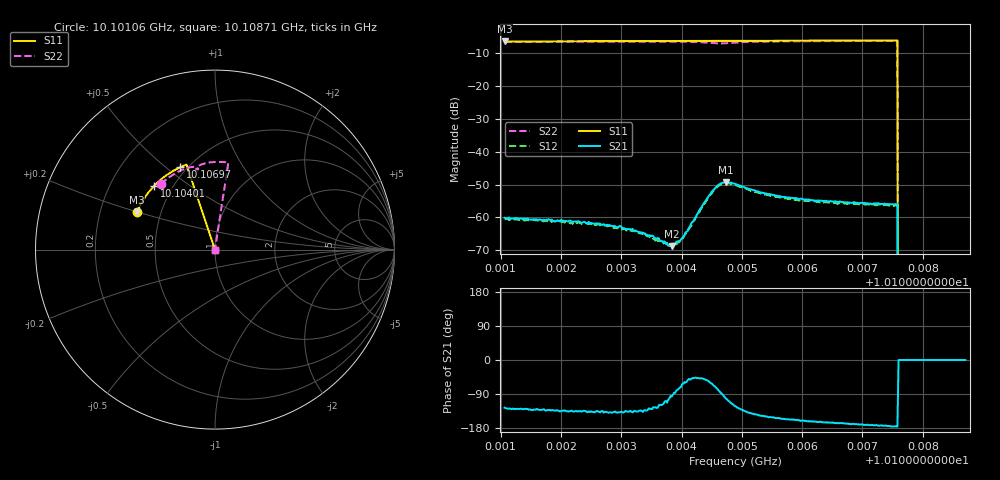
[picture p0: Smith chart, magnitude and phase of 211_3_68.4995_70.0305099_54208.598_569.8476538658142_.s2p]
#  HZ  S  RI  R  50.00
! Rohde & Schwarz Vector Network Analyzer
! Rohde-Schwarz,ZNB20-2Port,1311601062101988,3.16
! Created: UTC 3/20/2024, 4:58:02 PM
! freq[Hz]  re:S11  im:S11  re:S21  im:S21  re:S12  im:S12  re:S22  im:S22
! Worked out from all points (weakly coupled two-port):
!   401 points, 10.10106 GHz to 10.10871 GHz, reference 50 ohm
!   highest |S21| = -49.23 dB at 10.10473 GHz (marker M1); lowest = -68.8 dB at 10.10384 GHz (marker M2)
!   lowest |S11| = -6.3 dB at 10.10106 GHz (marker M3), VSWR 2.86, Z = 18.2 + j9.85 ohm
!   |S11| at or under -10 dB: 10.10758 GHz to end of sweep
!   |S22| runs from - to -6.2 dB; largest |S21 - S12| = 0.00038
!   S11 on the Smith chart (normalised r, x): 10.10106 GHz: 0.36, +0.20; 10.10401 GHz: 0.40, +0.37; 10.10697 GHz: 0.46, +0.56; 10.10871 GHz: 1.00, +0.00
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1.0101065e10  -0.4353 0.2071  -0.000577 -0.000798  -0.000508 -0.00078  -0.3025 0.3659
1.0102345e10  -0.3999 0.2766  -0.000592 -0.000569  -0.000528 -0.000594  -0.2362 0.416
1.0102823e10  -0.3839 0.3008  -0.000548 -0.000498  -0.000483 -0.000538  -0.2087 0.4318
1.0103186e10  -0.3707 0.3184  -0.000496 -0.000445  -0.000399 -0.000465  -0.1868 0.4425
1.0103358e10  -0.3642 0.3265  -0.000426 -0.000395  -0.000344 -0.000409  -0.1759 0.4471
1.0103625e10  -0.3538 0.3392  -0.000217 -0.000395  -0.000214 -0.000426  -0.1583 0.4537
1.0103797e10  -0.3467 0.3469  -7.54e-05 -0.000379  -8e-05 -0.000356  -0.1464 0.4572
1.0103835e10  -0.3453 0.3487  -4.2e-05 -0.000362  3.54e-06 -0.000363  -0.1436 0.458
1.0103931e10  -0.3413 0.3527  8.34e-05 -0.000417  0.000125 -0.000388  -0.1365 0.4594
1.0104007e10  -0.338 0.3562  0.00021 -0.00043  0.000232 -0.000385  -0.1305 0.4604
1.0104504e10  -0.3164 0.3771  0.00114 -0.0022  0.00124 -0.002  -0.0938 0.4474
1.0104619e10  -0.3113 0.3815  0.000486 -0.00313  0.000736 -0.00293  -0.0955 0.4404
1.0104733e10  -0.3063 0.3862  -0.000677 -0.00339  -0.000326 -0.00326  -0.102 0.4414
1.0104886e10  -0.2992 0.3922  -0.0017 -0.00276  -0.0014 -0.0028  -0.1028 0.4526
1.0105192e10  -0.2848 0.4039  -0.00205 -0.00159  -0.00183 -0.00165  -0.0851 0.4701
1.0105459e10  -0.2717 0.4136  -0.00198 -0.0011  -0.00177 -0.00122  -0.0662 0.4779
1.0106166e10  -0.2359 0.4369  -0.00173 -0.000577  -0.00159 -0.000677  -0.0179 0.4868
1.0106969e10  -0.1929 0.4595  -0.00164 -0.000277  -0.00153 -0.000421  0.0349 0.4886
1.0107446e10  -0.1664 0.4709  -0.00158 -0.000165  -0.00149 -0.000298  0.0658 0.4868
1.0107542e10  -0.1609 0.473  -0.00158 -0.000149  -0.00151 -0.000278  0.0719 0.486
1.0107637e10  0 0  0 0  0 0  0 0
1.0108707e10  0 0  0 0  0 0  0 0
